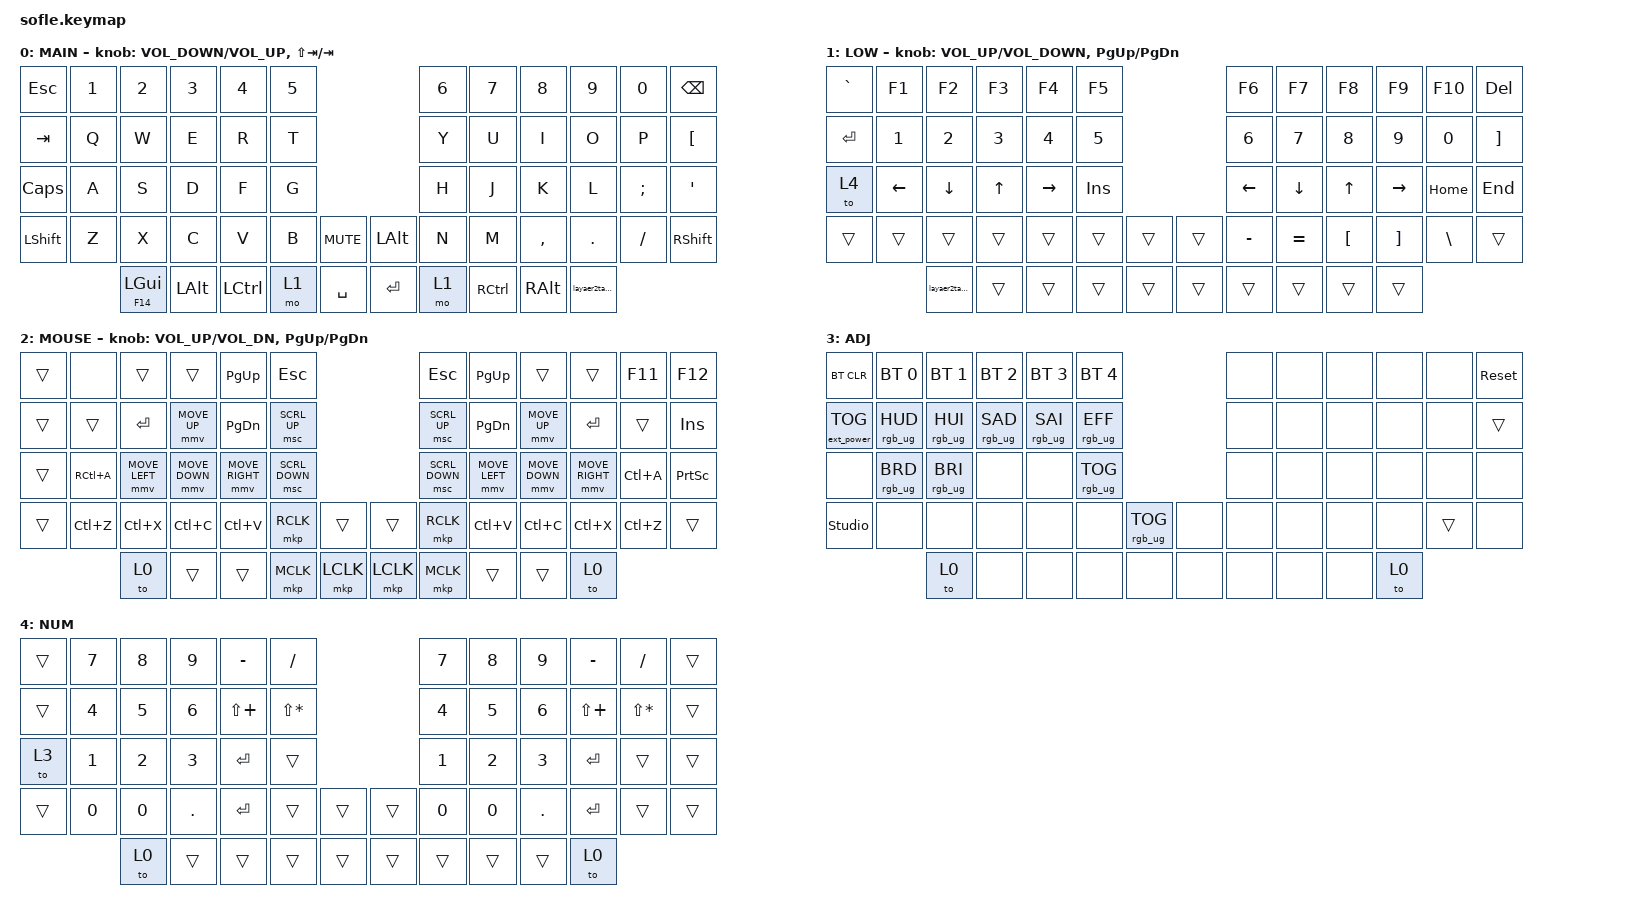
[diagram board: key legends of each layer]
/*
 * Copyright (c) 2020 The ZMK Contributors
 *
 * SPDX-License-Identifier: MIT
 */

#include <behaviors.dtsi>
#include <dt-bindings/zmk/bt.h>
#include <dt-bindings/zmk/ext_power.h>
#include <dt-bindings/zmk/keys.h>
#include <dt-bindings/zmk/pointing.h>
#include <dt-bindings/zmk/rgb.h>

#define BASE 0
#define LOWER 1
#define RAISE 2
#define ADJUST 3

/ {
    // Activate ADJUST layer by pressing raise and lower

    conditional_layers {
        compatible = "zmk,conditional-layers";

        adjust_layer {
            if-layers = <1 2>;
            then-layer = <3>;
        };
    };

    behaviors {
        layaer2taptoggle: layaer2taptoggle {
            compatible = "zmk,behavior-tap-dance";
            label = "LAYAER2TAPTOGGLE";
            #binding-cells = <0>;
            bindings = <&mo 2>, <&tog 2>;
        };

        gui_or_scroll: gui_or_scroll {
            compatible = "zmk,behavior-hold-tap";
            label = "GUI_OR_SCROLL";
            bindings = <&kp>, <&kp>;

            #binding-cells = <2>;
            tapping-term-ms = <200>;
        };
    };

    combos {
        compatible = "zmk,combos";

        toggle2combor {
            bindings = <&tog 2>;
            key-positions = <59 58>;
            timeout-ms = <0>;
            layers = <0>;
        };

        toogglr2lcombo {
            bindings = <&tog 2>;
            key-positions = <50 51>;
            timeout-ms = <0>;
            layers = <0>;
        };
    };

    keymap {
        compatible = "zmk,keymap";

        default_layer {
            display-name = "MAIN";

            // ------------------------------------------------------------------------------------------------------------
            // |   `   |  1  |  2  |  3   |  4   |  5   |                   |  6   |  7    |  8    |  9   |   0   |       |
            // |  ESC  |  Q  |  W  |  E   |  R   |  T   |                   |  Y   |  U    |  I    |  O   |   P   | BKSPC |
            // |  TAB  |  A  |  S  |  D   |  F   |  G   |                   |  H   |  J    |  K    |  L   |   ;   |   '   |
            // | SHIFT |  Z  |  X  |  C   |  V   |  B   |  MUTE  |  |       |  N   |  M    |  ,    |  .   |   /   | SHIFT |
            //               | GUI | ALT  | CTRL | LOWER|  ENTER |  | SPACE | RAISE| CTRL  | ALT   | GUI  |

            bindings = <
&kp ESCAPE    &kp N1  &kp N2                   &kp N3    &kp N4     &kp N5                              &kp N6  &kp N7     &kp N8     &kp N9             &kp N0    &kp BACKSPACE
&kp TAB       &kp Q   &kp W                    &kp E     &kp R      &kp T                               &kp Y   &kp U      &kp I      &kp O              &kp P     &kp LEFT_BRACKET
&kp CAPSLOCK  &kp A   &kp S                    &kp D     &kp F      &kp G                               &kp H   &kp J      &kp K      &kp L              &kp SEMI  &kp SQT
&kp LSHFT     &kp Z   &kp X                    &kp C     &kp V      &kp B   &kp C_MUTE    &kp LEFT_ALT  &kp N   &kp M      &kp COMMA  &kp DOT            &kp FSLH  &kp RSHFT
                      &gui_or_scroll F14 LGUI  &kp LALT  &kp LCTRL  &mo 1   &kp SPACE     &kp ENTER     &mo 1   &kp RCTRL  &kp RALT   &layaer2taptoggle
            >;

            sensor-bindings =
                <&inc_dec_kp C_VOLUME_DOWN C_VOLUME_UP>,
                <&inc_dec_kp LS(TAB) TAB>;
        };

        lower_layer {
            display-name = "LOW";

            // TODO: Some binds are waiting for shifted keycode support.
            // ------------------------------------------------------------------------------------------------------------
            // |       |  F1 |  F2 |  F3  |  F4  |  F5  |                   |  F6  |  F7   |  F8   |  F9  |  F10  |  F11  |
            // |   `   |  1  |  2  |  3   |  4   |  5   |                   |  6   |  7    |  8    |  9   |   0   |  F12  |
            // |       |  !  |  @  |  #   |  $   |  %   |                   |  ^   |  &    |  *    |  (   |   )   |   |   |
            // |       |  =  |  -  |  +   |  {   |  }   |        |  |       |  [   |  ]    |  ;    |  :   |   \   |       |
            //               |     |      |      |      |        |  |       |      |       |       |      |

            bindings = <
&kp GRAVE  &kp F1    &kp F2             &kp F3  &kp F4     &kp F5                        &kp F6     &kp F7     &kp F8            &kp F9             &kp F10        &kp DELETE
&kp ENTER  &kp N1    &kp N2             &kp N3  &kp N4     &kp N5                        &kp N6     &kp N7     &kp N8            &kp N9             &kp N0         &kp RIGHT_BRACKET
&to 4      &kp LEFT  &kp DOWN           &kp UP  &kp RIGHT  &kp INSERT                    &kp LEFT   &kp DOWN   &kp UP            &kp RIGHT          &kp HOME       &kp END
&trans     &trans    &trans             &trans  &trans     &trans      &trans    &trans  &kp MINUS  &kp EQUAL  &kp LEFT_BRACKET  &kp RIGHT_BRACKET  &kp BACKSLASH  &trans
                     &layaer2taptoggle  &trans  &trans     &trans      &trans    &trans  &trans     &trans     &trans            &trans
            >;

            sensor-bindings =
                <&inc_dec_kp C_VOLUME_UP C_VOLUME_DOWN>,
                <&inc_dec_kp PG_UP PG_DN>;
        };

        raise_layer {
            display-name = "MOUSE";

            // ------------------------------------------------------------------------------------------------------------
            // | BTCLR | BT1  | BT2  |  BT3  |  BT4  |  BT5 |                |      |      |       |      |       |       |
            // |       | INS  | PSCR | GUI   |       |      |                | PGUP |      |   ^   |      |       |       |
            // |       | ALT  | CTRL | SHIFT |       | CAPS |                | PGDN |   <- |   v   |  ->  |  DEL  | BKSPC |
            // |       | UNDO | CUT  | COPY  | PASTE |      |      |  |      |      |      |       |      |       |       |
            //                |      |       |       |      |      |  |      |      |      |       |      |

            bindings = <
&trans  &none      &trans          &trans          &kp PAGE_UP      &kp ESCAPE                              &kp ESCAPE      &kp PAGE_UP     &trans          &trans           &kp F11    &kp F12
&trans  &trans     &kp ENTER       &mmv MOVE_UP    &kp PAGE_DOWN    &msc SCRL_UP                            &msc SCRL_UP    &kp PAGE_DOWN   &mmv MOVE_UP    &kp ENTER        &trans     &kp INSERT
&trans  &kp RC(A)  &mmv MOVE_LEFT  &mmv MOVE_DOWN  &mmv MOVE_RIGHT  &msc SCRL_DOWN                          &msc SCRL_DOWN  &mmv MOVE_LEFT  &mmv MOVE_DOWN  &mmv MOVE_RIGHT  &kp LC(A)  &kp PRINTSCREEN
&trans  &kp LC(Z)  &kp LC(X)       &kp LC(C)       &kp LC(V)        &mkp RCLK       &trans       &trans     &mkp RCLK       &kp LC(V)       &kp LC(C)       &kp LC(X)        &kp LC(Z)  &trans
                   &to 0           &trans          &trans           &mkp MCLK       &mkp LCLK    &mkp LCLK  &mkp MCLK       &trans          &trans          &to 0
            >;

            sensor-bindings = <&inc_dec_kp C_VOL_UP C_VOL_DN &inc_dec_kp PG_UP PG_DN>;
        };

        adjust_layer {
            // ----------------------------------------------------------------------------------------------------------------------------
            // | BTCLR  |  BT1    |  BT2    |   BT3   |   BT4   |   BT5   |                  |      |      |       |      |       |       |
            // | EXTPWR | RGB_HUD | RGB_HUI | RGB_SAD | RGB_SAI | RGB_EFF |                  |      |      |       |      |       |       |
            // |        | RGB_BRD | RGB_BRI |         |         |         |                  |      |      |       |      |       |       |
            // |        |         |         |         |         |         | RGB_TOG | |      |      |      |       |      |       |       |
            //                    |         |         |         |         |         | |      |      |      |       |      |

            display-name = "ADJ";
            bindings = <
&bt BT_CLR         &bt BT_SEL 0     &bt BT_SEL 1     &bt BT_SEL 2     &bt BT_SEL 3     &bt BT_SEL 4                               &none  &none  &none  &none  &none   &sys_reset
&ext_power EP_TOG  &rgb_ug RGB_HUD  &rgb_ug RGB_HUI  &rgb_ug RGB_SAD  &rgb_ug RGB_SAI  &rgb_ug RGB_EFF                            &none  &none  &none  &none  &none   &trans
&none              &rgb_ug RGB_BRD  &rgb_ug RGB_BRI  &none            &none            &rgb_ug RGB_TOG                            &none  &none  &none  &none  &none   &none
&studio_unlock     &none            &none            &none            &none            &none            &rgb_ug RGB_TOG    &none  &none  &none  &none  &none  &trans  &none
                                    &to 0            &none            &none            &none            &none              &none  &none  &none  &none  &to 0
            >;
        };

        NUMPAD {
            bindings = <
&trans  &kp N7  &kp N8  &kp N9   &kp MINUS     &kp FSLH                        &kp N7  &kp N8  &kp N9   &kp MINUS     &kp FSLH      &trans
&trans  &kp N4  &kp N5  &kp N6   &kp LS(PLUS)  &kp LS(STAR)                    &kp N4  &kp N5  &kp N6   &kp LS(PLUS)  &kp LS(STAR)  &trans
&to 3   &kp N1  &kp N2  &kp N3   &kp RET       &trans                          &kp N1  &kp N2  &kp N3   &kp RET       &trans        &trans
&trans  &kp N0  &kp N0  &kp DOT  &kp RET       &trans        &trans    &trans  &kp N0  &kp N0  &kp DOT  &kp RET       &trans        &trans
                &to 0   &trans   &trans        &trans        &trans    &trans  &trans  &trans  &trans   &to 0
            >;

            label = "NUM";
        };
    };
};
